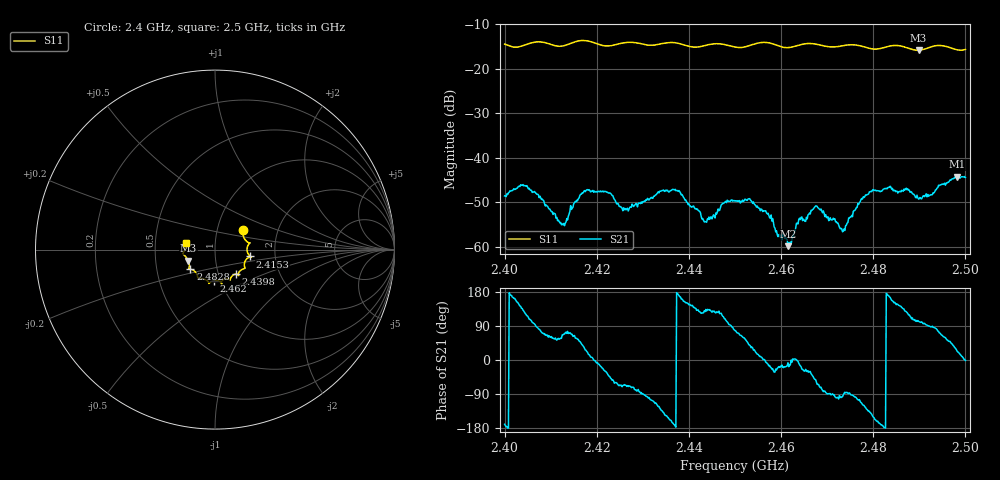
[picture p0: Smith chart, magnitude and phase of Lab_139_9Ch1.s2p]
# Hz S RI R
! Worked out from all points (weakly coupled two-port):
!   601 points, 2.4 GHz to 2.5 GHz, reference 50 ohm
!   highest |S21| = -44.18 dB at 2.4982 GHz (marker M1); lowest = -59.8 dB at 2.4615 GHz (marker M2)
!   lowest |S11| = -15.9 dB at 2.4898 GHz (marker M3), VSWR 1.38, Z = 36.8 - j4.61 ohm
!   |S11| at or under -10 dB: start of sweep to end of sweep
!   S12 and S22 are empty: the file has one direction only
!   S11 on the Smith chart (normalised r, x): 2.4 GHz: 1.33, +0.29; 2.4153 GHz: 1.48, -0.12; 2.4398 GHz: 1.21, -0.34; 2.462 GHz: 0.93, -0.33; 2.4828 GHz: 0.74, -0.17; 2.5 GHz: 0.72, +0.06
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2.4e9  0.1554 0.1066  -0.00368 -0.000667  0 0  0 0
2.4045e9  0.1798 0.043  -0.00261 0.00411  0 0  0 0
2.4125e9  0.1789 -0.0072  0.000735 0.00166  0 0  0 0
2.415333e9  0.1965 -0.0384  0.00172 0.00275  0 0  0 0
2.416667e9  0.2023 -0.0425  0.00288 0.00265  0 0  0 0
2.422333e9  0.166 -0.0682  0.0033 -0.00248  0 0  0 0
2.4265e9  0.1679 -0.1023  0.000914 -0.0025  0 0  0 0
2.433333e9  0.131 -0.1338  -0.00225 -0.0035  0 0  0 0
2.439833e9  0.1155 -0.1365  -0.00256 0.00155  0 0  0 0
2.443667e9  0.0864 -0.1608  -0.00132 0.0014  0 0  0 0
2.45e9  0.0647 -0.1623  0.000694 0.0032  0 0  0 0
2.456667e9  0.0393 -0.1928  0.00254 -0.00026  0 0  0 0
2.4615e9  0.00191 -0.172  0.00101 -0.000131  0 0  0 0
2.462e9  -0.00499 -0.1732  0.00111 -0.000257  0 0  0 0
2.466667e9  -0.0341 -0.1879  0.002 -0.00162  0 0  0 0
2.473333e9  -0.0828 -0.1605  -0.000177 -0.00147  0 0  0 0
2.477833e9  -0.0983 -0.1465  -0.00179 -0.00319  0 0  0 0
2.482833e9  -0.1367 -0.1095  -0.00455 0.000307  0 0  0 0
2.483333e9  -0.1404 -0.1092  -0.0046 0.000814  0 0  0 0
2.489833e9  -0.1484 -0.061  -0.000738 0.00337  0 0  0 0
2.498167e9  -0.1626 0.00776  0.00564 0.00252  0 0  0 0
2.5e9  -0.1595 0.0391  0.006 -0.000127  0 0  0 0
